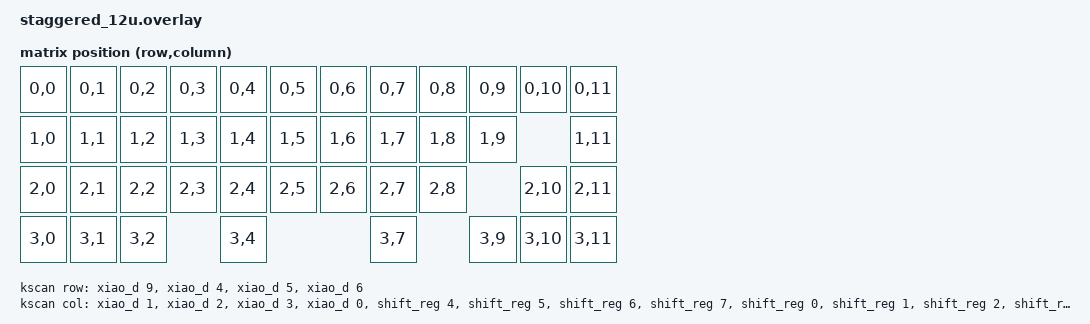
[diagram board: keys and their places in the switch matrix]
#include <dt-bindings/zmk/matrix_transform.h>

&xiao_spi {
	status = "okay";

	cs-gpios = <&xiao_d 7 GPIO_ACTIVE_LOW>;
	shift_reg: 595@0 {
		compatible = "zmk,gpio-595";
		status = "okay";
		gpio-controller;
		spi-max-frequency = <200000>;
		reg = <0>;
		label = "4HC595";
		#gpio-cells = <2>;
		ngpios = <8>;
	};
};

&xiao_serial { status = "disabled"; };

/ {
	chosen {
		zmk,kscan = &kscan;
		zmk,matrix_transform = &transform;
	};

	transform: transform {
		compatible = "zmk,matrix-transform";
		rows = <4>;
		columns = <12>;

		map = <
	RC(0,0) RC(0,1) RC(0,2) RC(0,3) RC(0,4) RC(0,5) RC(0,6) RC(0,7) RC(0,8) RC(0,9) RC(0,10) RC(0,11)
	RC(1,0) RC(1,1) RC(1,2) RC(1,3) RC(1,4) RC(1,5) RC(1,6) RC(1,7) RC(1,8) RC(1,9)          RC(1,11)
	RC(2,0) RC(2,1) RC(2,2) RC(2,3) RC(2,4) RC(2,5) RC(2,6) RC(2,7) RC(2,8)         RC(2,10) RC(2,11)
	RC(3,0) RC(3,1) RC(3,2)         RC(3,4)                 RC(3,7)         RC(3,9) RC(3,10) RC(3,11)
	    >;
	};

	kscan: kscan {
		compatible = "zmk,kscan-gpio-matrix";
		label = "KSCAN";

		diode-direction = "col2row";

		col-gpios
			= <&xiao_d 1    GPIO_ACTIVE_HIGH>
			, <&xiao_d 2    GPIO_ACTIVE_HIGH>
			, <&xiao_d 3    GPIO_ACTIVE_HIGH>
			, <&xiao_d 0    GPIO_ACTIVE_HIGH>
			, <&shift_reg 4 GPIO_ACTIVE_HIGH>
			, <&shift_reg 5 GPIO_ACTIVE_HIGH>
			, <&shift_reg 6 GPIO_ACTIVE_HIGH>
			, <&shift_reg 7 GPIO_ACTIVE_HIGH>
			, <&shift_reg 0 GPIO_ACTIVE_HIGH>
			, <&shift_reg 1 GPIO_ACTIVE_HIGH>
			, <&shift_reg 2 GPIO_ACTIVE_HIGH>
			, <&shift_reg 3 GPIO_ACTIVE_HIGH>
			;
		row-gpios
			= <&xiao_d 9  (GPIO_ACTIVE_HIGH | GPIO_PULL_DOWN)>
			, <&xiao_d 4  (GPIO_ACTIVE_HIGH | GPIO_PULL_DOWN)>
			, <&xiao_d 5  (GPIO_ACTIVE_HIGH | GPIO_PULL_DOWN)>
			, <&xiao_d 6  (GPIO_ACTIVE_HIGH | GPIO_PULL_DOWN)>
			;
	};
};


